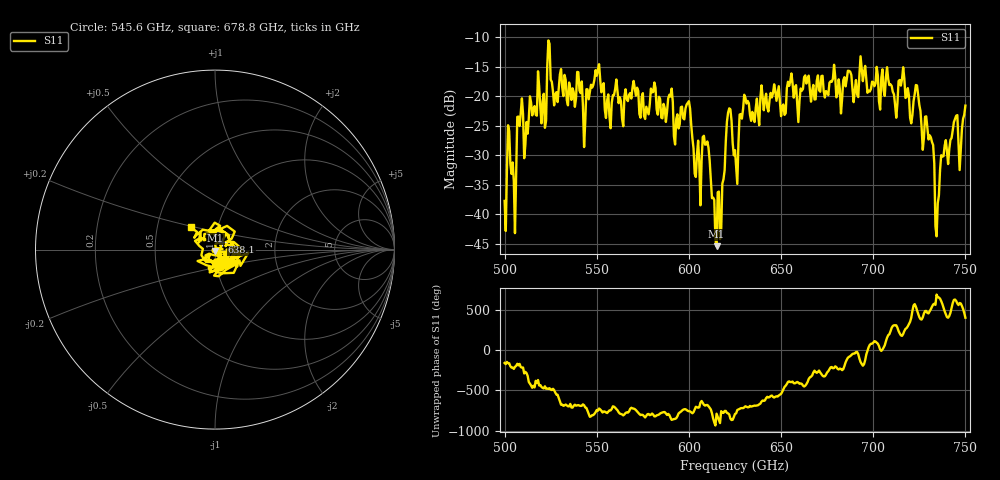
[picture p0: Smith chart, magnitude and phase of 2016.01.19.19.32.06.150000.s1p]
!Created with skrf (http://scikit-rf.org).
# GHz S RI R 50.0
!freq ReS11 ImS11
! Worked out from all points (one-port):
!   401 points, 500 GHz to 750 GHz, reference 50 ohm
!   lowest |S11| = -45.5 dB at 615 GHz (marker M1), VSWR 1.01, Z = 50.2 - j0.504 ohm
!   |S11| at or under -10 dB: start of sweep to end of sweep
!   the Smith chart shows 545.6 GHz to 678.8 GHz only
!   S11 on the Smith chart (normalised r, x): 545.6 GHz: 1.04, -0.19; 638.1 GHz: 1.08, +0.09; 678.8 GHz: 0.74, +0.19
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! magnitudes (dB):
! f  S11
! 500 GHz  -37.8
! 502.5 GHz  -26.0
! 505 GHz  -34.4
! 508.1 GHz  -25.1
! 521.2 GHz  -19.6
! 524.4 GHz  -11.1
! 531.2 GHz  -18.5
! 545.6 GHz  -20.5
! 562.5 GHz  -20.2
! 580.6 GHz  -19.3
! 593.8 GHz  -23.1
! 599.4 GHz  -21.2
! 605 GHz  -27.5
! 609.4 GHz  -28.2
! 615 GHz  -45.5
! 618.1 GHz  -34.9
! 621.9 GHz  -22.1
! 625 GHz  -29.2
! 630.6 GHz  -20.2
! 638.1 GHz  -24.9
! 656.2 GHz  -17.9
! 678.8 GHz  -14.7
! 687.5 GHz  -15.8
! 718.8 GHz  -18.6
! 729.4 GHz  -25.5
! 735 GHz  -38.2
! 738.1 GHz  -30.2
! 750 GHz  -21.6
